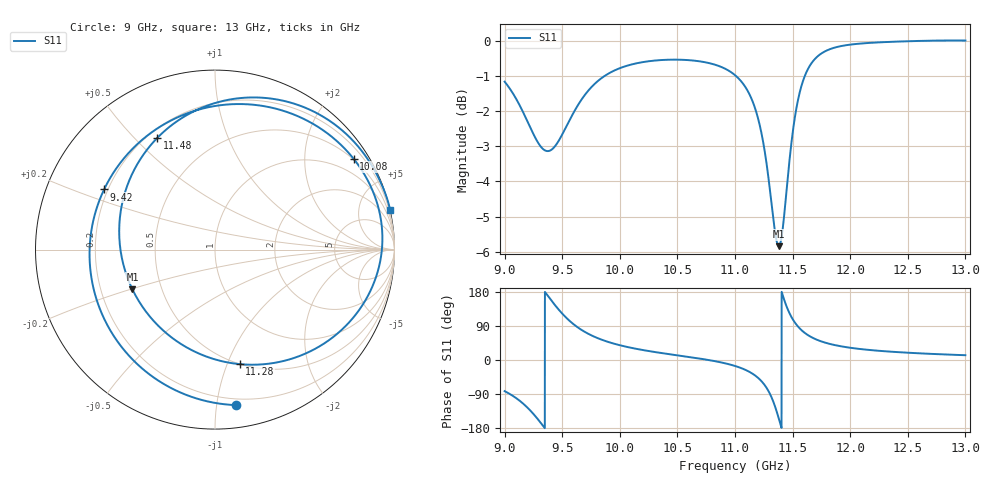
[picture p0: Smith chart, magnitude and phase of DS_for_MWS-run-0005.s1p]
! TOUCHSTONE file generated by CST DESIGN STUDIO
! Date and time: Tue Feb  4 16:00:35 2025
! Project name: C:\Work\MatlabApps\UnitCellOptimizationMatlab\CST\unitcell.cst
! Tree item: Tasks\Sweep1\SPara1\S-Parameters
! Header version: 2024
! Port assignment regex: !\s*Touchstone port\s*([0-9]+)\s*=\s*(CST MWS port|CST DES external port|CST DES block port)\s*(.+)\s* \(\"(.*)\"\)(\s*mode\s*([0-9]+))?.*
! Touchstone port assignment:
! Touchstone port 1 = CST DES external port 1 ("")
# GHz S MA R 50
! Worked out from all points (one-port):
!   4001 points, 9 GHz to 13 GHz, reference 50 ohm
!   lowest |S11| = -5.8 dB at 11.38 GHz (marker M1), VSWR 3.09, Z = 16.9 - j10.2 ohm
!   |S11| at or under -10 dB: nowhere
!   S11 on the Smith chart (normalised r, x): 9 GHz: 0.15, -1.13; 9.42 GHz: 0.19, +0.25; 10.08 GHz: 0.48, +3.29; 11.28 GHz: 0.50, -1.11; 11.48 GHz: 0.24, +0.58; 13 GHz: -0.02, +9.03
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9  0.8746 -82.2
9.108  0.8225 -102.3
9.199  0.7675 -125.9
9.317  0.7062 -167.2
9.42  0.7029 151.5
9.5  0.7357 122.5
9.579  0.7795 99.3
9.671  0.8263 78.8
9.821  0.8795 56.1
10  0.914 39.0
10.082  0.9233 33.2
10.5  0.9398 12.3
10.798  0.9273 -1.5
11  0.8934 -15.7
11.166  0.809 -39.0
11.227  0.7427 -55.0
11.283  0.6525 -77.9
11.333  0.558 -110.3
11.38  0.5106 -154.3
11.428  0.5671 157.9
11.483  0.7002 117.4
11.5  0.7387 108.1
11.572  0.8569 80.3
11.691  0.9409 56.1
11.819  0.9719 42.7
12  0.9872 32.3
12.5  0.9982 19.2
13  1.001 12.6
